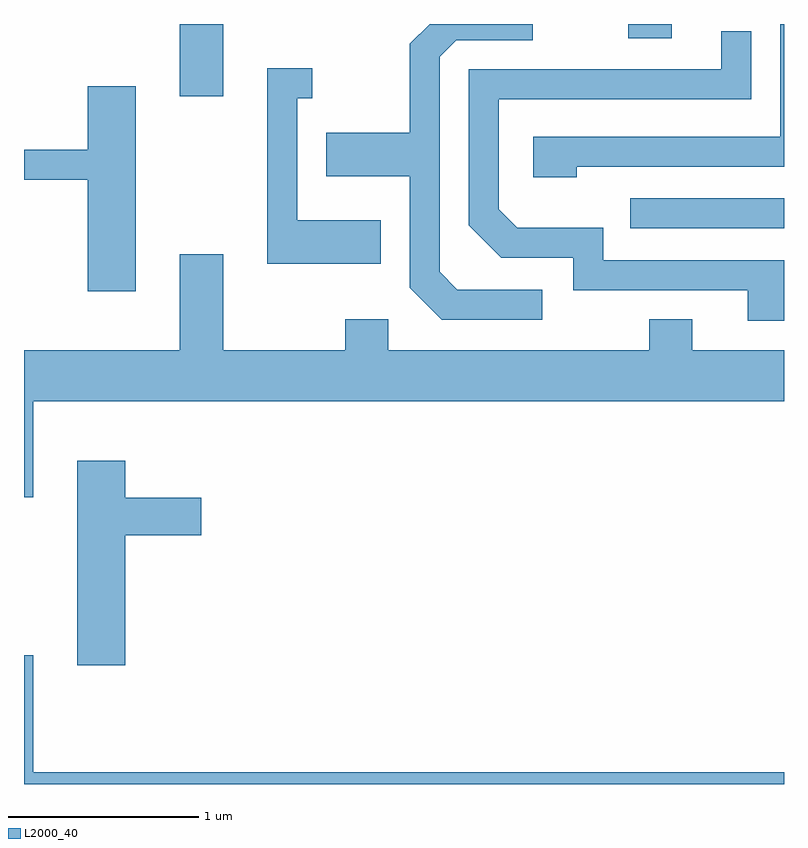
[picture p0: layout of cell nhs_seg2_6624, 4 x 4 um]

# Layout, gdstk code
import gdstk
lib = gdstk.Library(unit=1e-6, precision=1e-09)
def R(c, l, rs):  # rectangles x0, y0, x1, y1
    for r in rs: c.add(gdstk.rectangle(r[:2], r[2:], *l))
def P(c, l, *ps):  # polygons
    for p in ps: c.add(gdstk.Polygon(p, *l))
L2000_40 = (2000, 40)

nhs_seg2_6624 = lib.new_cell('nhs_seg2_6624')
R(nhs_seg2_6624, L2000_40, [(382.803,1104.726,383.611,1104.884), (380.431,1105.421,380.659,1105.802), (382.791,1105.726,383.019,1105.802)])
P(nhs_seg2_6624, L2000_40, [(382.519,1105.051),(383.611,1105.051),(383.611,1105.802),(383.591,1105.802),(383.591,1105.209),(382.291,1105.209),(382.291,1104.996),(382.519,1104.996)],
  [(382.338,1104.404),(381.892,1104.404),(381.799,1104.497),(381.799,1105.629),(381.887,1105.716),(382.288,1105.716),(382.288,1105.802),(381.747,1105.802),(381.641,1105.697),(381.641,1105.229),(381.201,1105.229),(381.201,1105.001),(381.641,1105.001),(381.641,1104.414),(381.809,1104.246),(382.338,1104.246)],
  [(383.611,1104.559),(382.659,1104.559),(382.659,1104.729),(382.207,1104.729),(382.109,1104.827),(382.109,1105.406),(383.439,1105.406),(383.439,1105.763),(383.281,1105.763),(383.281,1105.564),(381.951,1105.564),(381.951,1104.744),(382.124,1104.571),(382.501,1104.571),(382.501,1104.401),(383.421,1104.401),(383.421,1104.241),(383.611,1104.241)],
  [(381.489,1104.769),(381.049,1104.769),(381.049,1105.411),(381.128,1105.411),(381.128,1105.569),(380.891,1105.569),(380.891,1104.541),(381.489,1104.541)],
  [(380.199,1105.474),(379.946,1105.474),(379.946,1105.139),(379.611,1105.139),(379.611,1104.981),(379.946,1104.981),(379.946,1104.396),(380.199,1104.396)],
  [(379.659,1103.816),(383.611,1103.816),(383.611,1104.084),(383.129,1104.084),(383.129,1104.249),(382.901,1104.249),(382.901,1104.084),(381.529,1104.084),(381.529,1104.249),(381.301,1104.249),(381.301,1104.084),(380.659,1104.084),(380.659,1104.589),(380.431,1104.589),(380.431,1104.084),(379.611,1104.084),(379.611,1103.311),(379.659,1103.311)],
  [(380.144,1103.111),(380.544,1103.111),(380.544,1103.309),(380.144,1103.309),(380.144,1103.504),(379.891,1103.504),(379.891,1102.426),(380.144,1102.426)],
  [(383.611,1101.864),(379.659,1101.864),(379.659,1102.479),(379.611,1102.479),(379.611,1101.802),(383.611,1101.802)])

lib.write_gds('nhs_seg2_6624.gds')
